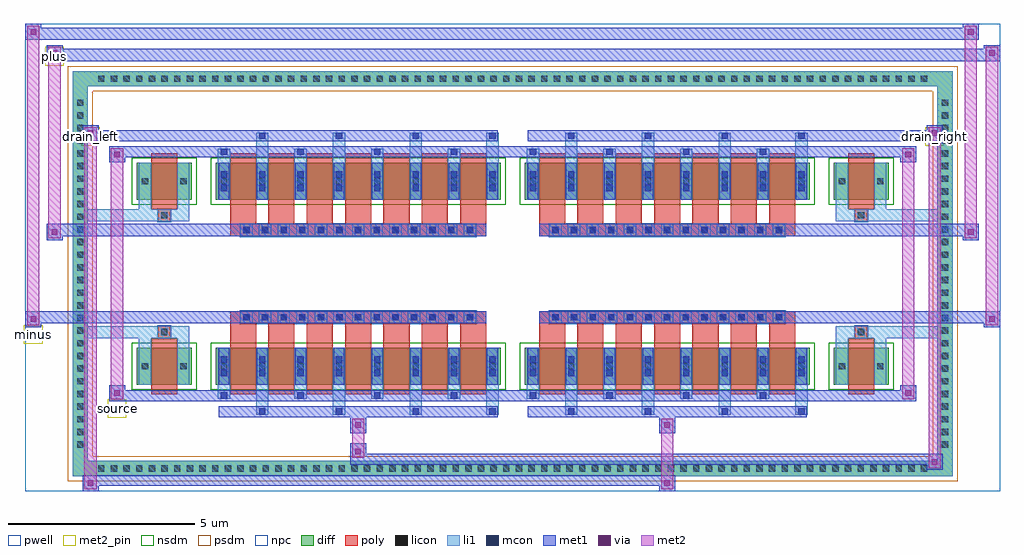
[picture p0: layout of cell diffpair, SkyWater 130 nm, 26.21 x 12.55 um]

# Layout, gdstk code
import gdstk
lib = gdstk.Library(unit=1e-6, precision=5e-09)
def R(c, l, rs):  # rectangles x0, y0, x1, y1
    for r in rs: c.add(gdstk.rectangle(r[:2], r[2:], *l))
def A(c, l, x, y, w, h, nx, ny, dx, dy):  # array of equal rectangles
    R(c, l, [(x+i*dx, y+j*dy, x+i*dx+w, y+j*dy+h) for i in range(nx) for j in range(ny)])
def P(c, l, *ps):  # polygons
    for p in ps: c.add(gdstk.Polygon(p, *l))
pwell = (64, 44)
diff = (65, 20)
poly = (66, 20)
licon = (66, 44)
li1 = (67, 20)
mcon = (67, 44)
met1 = (68, 20)
via = (68, 44)
met2_pin = (69, 16)
met2 = (69, 20)
nsdm = (93, 44)
psdm = (94, 20)
npc = (95, 20)

diffpair = lib.new_cell('diffpair')
R(diffpair, pwell, [(-13.09,-5.84,13.09,6.71), (-10.41,-4.03,-0.01,-0.805), (0.01,-4.03,10.41,-0.805), (-10.41,0.805,-0.01,4.03), (0.01,0.805,10.41,4.03)])
A(diffpair, diff, -11.255, -5.44, 0.41, 0.41, 66, 2, 0.34, 10.47)
A(diffpair, diff, -11.82, -4.795, 0.41, 0.41, 1, 28, 0, 0.34)
A(diffpair, diff, 11.41, -4.795, 0.41, 0.41, 1, 28, 0, 0.34)
R(diffpair, diff, [(-11.255,-5.44,11.255,-5.03), (-11.82,-4.795,-11.41,4.795), (11.41,-4.795,11.82,4.795), (-10.1,-2.985,-8.62,-1.985), (-7.98,-2.985,-0.32,-1.985), (0.32,-2.985,7.98,-1.985), (8.62,-2.985,10.1,-1.985), (-10.1,1.985,-8.62,2.985), (-7.98,1.985,-0.32,2.985), (0.32,1.985,7.98,2.985), (8.62,1.985,10.1,2.985), (-11.255,5.03,11.255,5.44)])
P(diffpair, diff, [(11.82,5.44),(-11.82,5.44),(-11.82,-5.03),(-11.41,-5.03),(-11.41,5.03),(11.41,5.03),(11.41,-5.03),(-11.41,-5.03),(-11.82,-5.03),(-11.82,-5.44),(11.82,-5.44)])
A(diffpair, poly, -7.59, -3.235, 0.7, 1.5, 7, 2, 1.03, 4.97)
A(diffpair, poly, 0.71, -3.235, 0.7, 1.5, 7, 2, 1.03, 4.97)
A(diffpair, poly, -7.59, -1.735, 0.7, 0.4, 7, 2, 1.03, 3.07)
A(diffpair, poly, 0.71, -1.735, 0.7, 0.4, 7, 2, 1.03, 3.07)
A(diffpair, poly, -7.315, -1.335, 0.33, 0.33, 13, 2, 0.5, 2.34)
A(diffpair, poly, 0.985, -1.335, 0.33, 0.33, 13, 2, 0.5, 2.34)
R(diffpair, poly, [(-9.71,-3.235,-9.01,-1.735), (9.01,-3.235,9.71,-1.735), (-9.525,-1.735,-9.195,-1.405), (-9.525,-1.735,-9.195,-1.405), (9.195,-1.735,9.525,-1.405), (9.195,-1.735,9.525,-1.405), (-7.59,-1.335,-0.71,-1.005), (0.71,-1.335,7.59,-1.005), (-7.59,1.005,-0.71,1.335), (0.71,1.005,7.59,1.335), (-9.525,1.405,-9.195,1.735), (-9.525,1.405,-9.195,1.735), (9.195,1.405,9.525,1.735), (9.195,1.405,9.525,1.735), (-9.71,1.735,-9.01,3.235), (9.01,1.735,9.71,3.235)])
A(diffpair, licon, -11.135, -5.32, 0.17, 0.17, 66, 2, 0.34, 10.47)
A(diffpair, licon, -11.7, -4.675, 0.17, 0.17, 1, 28, 0, 0.34)
A(diffpair, licon, 11.53, -4.675, 0.17, 0.17, 1, 28, 0, 0.34)
A(diffpair, licon, -7.84, -2.57, 0.17, 0.17, 8, 2, 1.03, 4.97)
A(diffpair, licon, 0.46, -2.57, 0.17, 0.17, 8, 2, 1.03, 4.97)
A(diffpair, licon, -7.235, -1.255, 0.17, 0.17, 13, 2, 0.5, 2.34)
A(diffpair, licon, 1.065, -1.255, 0.17, 0.17, 13, 2, 0.5, 2.34)
R(diffpair, licon, [(-9.96,-2.57,-9.79,-2.4), (-8.93,-2.57,-8.76,-2.4), (8.76,-2.57,8.93,-2.4), (9.79,-2.57,9.96,-2.4), (-9.445,-1.655,-9.275,-1.485), (9.275,-1.655,9.445,-1.485), (-9.445,1.485,-9.275,1.655), (9.275,1.485,9.445,1.655), (-9.96,2.4,-9.79,2.57), (-8.93,2.4,-8.76,2.57), (8.76,2.4,8.93,2.57), (9.79,2.4,9.96,2.57)])
A(diffpair, li1, -11.215, -5.4, 0.33, 0.33, 66, 2, 0.34, 10.47)
A(diffpair, li1, -11.78, -4.755, 0.33, 0.33, 1, 28, 0, 0.34)
A(diffpair, li1, 11.45, -4.755, 0.33, 0.33, 1, 28, 0, 0.34)
A(diffpair, li1, -6.89, -3.79, 0.33, 0.805, 4, 2, 2.06, 6.775)
A(diffpair, li1, -6.81, -3.79, 0.17, 0.17, 4, 2, 2.06, 7.41)
A(diffpair, li1, 1.41, -3.79, 0.33, 0.805, 4, 2, 2.06, 6.775)
A(diffpair, li1, 1.49, -3.79, 0.17, 0.17, 4, 2, 2.06, 7.41)
A(diffpair, li1, -7.92, -3.36, 0.33, 0.375, 4, 2, 2.06, 6.345)
A(diffpair, li1, -7.84, -3.36, 0.17, 0.17, 4, 2, 2.06, 6.55)
A(diffpair, li1, 0.38, -3.36, 0.33, 0.375, 4, 2, 2.06, 6.345)
A(diffpair, li1, 0.46, -3.36, 0.17, 0.17, 4, 2, 2.06, 6.55)
A(diffpair, li1, -7.92, -2.985, 0.33, 1, 8, 2, 1.03, 4.97)
A(diffpair, li1, 0.38, -2.985, 0.33, 1, 8, 2, 1.03, 4.97)
A(diffpair, li1, -7.84, -2.75, 0.17, 0.17, 8, 2, 1.03, 0.36)
A(diffpair, li1, -7.84, -2.75, 0.17, 0.53, 8, 2, 1.03, 4.97)
A(diffpair, li1, 0.46, -2.75, 0.17, 0.17, 8, 2, 1.03, 0.36)
A(diffpair, li1, 0.46, -2.75, 0.17, 0.53, 8, 2, 1.03, 4.97)
A(diffpair, li1, -7.92, -2.65, 0.33, 0.33, 8, 2, 1.03, 4.97)
A(diffpair, li1, 0.38, -2.65, 0.33, 0.33, 8, 2, 1.03, 4.97)
A(diffpair, li1, -7.315, -1.335, 0.33, 0.33, 13, 2, 0.5, 2.34)
A(diffpair, li1, 0.985, -1.335, 0.33, 0.33, 13, 2, 0.5, 2.34)
A(diffpair, li1, -7.84, 2.22, 0.17, 0.17, 8, 2, 1.03, 0.36)
A(diffpair, li1, 0.46, 2.22, 0.17, 0.17, 8, 2, 1.03, 0.36)
R(diffpair, li1, [(-11.82,-5.44,-11.41,-5.03), (-11.82,-5.44,-11.41,-5.03), (-11.41,-5.44,11.41,-5.03), (11.41,-5.44,11.82,-5.03), (11.41,-5.44,11.82,-5.03), (-11.82,-5.03,-11.41,5.03), (11.41,-5.03,11.82,5.03), (-10.04,-2.985,-9.71,-1.985), (-9.01,-2.985,-8.68,-1.985), (8.68,-2.985,9.01,-1.985), (9.71,-2.985,10.04,-1.985), (-10.04,-2.65,-9.71,-2.32), (-9.01,-2.65,-8.68,-2.32), (8.68,-2.65,9.01,-2.32), (9.71,-2.65,10.04,-2.32), (-10.04,-1.985,-9.71,-1.405), (-9.01,-1.985,-8.68,-1.405), (8.68,-1.985,9.01,-1.405), (9.71,-1.985,10.04,-1.405), (-11.82,-1.735,-9.525,-1.405), (-10.04,-1.735,-9.525,-1.405), (-9.525,-1.735,-9.195,-1.405), (-9.195,-1.735,-8.68,-1.405), (8.68,-1.735,9.195,-1.405), (9.195,-1.735,9.525,-1.405), (9.195,-1.735,11.82,-1.405), (9.525,-1.735,10.04,-1.405), (-11.82,1.405,-9.525,1.735), (-10.04,1.405,-9.525,1.735), (-10.04,1.405,-9.71,1.985), (-9.525,1.405,-9.195,1.735), (-9.195,1.405,-8.68,1.735), (-9.01,1.405,-8.68,1.985), (8.68,1.405,9.195,1.735), (8.68,1.405,9.01,1.985), (9.195,1.405,9.525,1.735), (9.195,1.405,11.82,1.735), (9.525,1.405,10.04,1.735), (9.71,1.405,10.04,1.985), (-10.04,1.985,-9.71,2.985), (-9.01,1.985,-8.68,2.985), (8.68,1.985,9.01,2.985), (9.71,1.985,10.04,2.985), (-10.04,2.32,-9.71,2.65), (-9.01,2.32,-8.68,2.65), (8.68,2.32,9.01,2.65), (9.71,2.32,10.04,2.65), (-11.82,5.03,-11.41,5.44), (-11.82,5.03,-11.41,5.44), (-11.41,5.03,11.41,5.44), (11.41,5.03,11.82,5.44), (11.41,5.03,11.82,5.44)])
A(diffpair, mcon, -6.81, -3.79, 0.17, 0.17, 4, 2, 2.06, 7.41)
A(diffpair, mcon, 1.49, -3.79, 0.17, 0.17, 4, 2, 2.06, 7.41)
A(diffpair, mcon, -7.84, -3.36, 0.17, 0.17, 4, 2, 2.06, 6.55)
A(diffpair, mcon, 0.46, -3.36, 0.17, 0.17, 4, 2, 2.06, 6.55)
A(diffpair, mcon, -7.84, -2.75, 0.17, 0.17, 8, 2, 1.03, 0.36)
A(diffpair, mcon, 0.46, -2.75, 0.17, 0.17, 8, 2, 1.03, 0.36)
A(diffpair, mcon, -7.235, -1.255, 0.17, 0.17, 13, 2, 0.5, 2.34)
A(diffpair, mcon, 1.065, -1.255, 0.17, 0.17, 13, 2, 0.5, 2.34)
A(diffpair, mcon, -7.84, 2.22, 0.17, 0.17, 8, 2, 1.03, 0.36)
A(diffpair, mcon, 0.46, 2.22, 0.17, 0.17, 8, 2, 1.03, 0.36)
A(diffpair, met1, -6.87, -3.85, 0.29, 0.29, 4, 2, 2.06, 7.41)
A(diffpair, met1, 1.43, -3.85, 0.29, 0.29, 4, 2, 2.06, 7.41)
A(diffpair, met1, -7.9, -3.42, 0.29, 0.29, 4, 2, 2.06, 6.55)
A(diffpair, met1, 0.4, -3.42, 0.29, 0.29, 4, 2, 2.06, 6.55)
A(diffpair, met1, -7.9, -2.985, 0.29, 1, 8, 2, 1.03, 4.97)
A(diffpair, met1, 0.4, -2.985, 0.29, 1, 8, 2, 1.03, 4.97)
A(diffpair, met1, -7.9, -2.81, 0.29, 0.29, 8, 2, 1.03, 0.36)
A(diffpair, met1, 0.4, -2.81, 0.29, 0.29, 8, 2, 1.03, 0.36)
A(diffpair, met1, -7.295, -1.315, 0.29, 0.29, 13, 2, 0.5, 2.34)
A(diffpair, met1, 1.005, -1.315, 0.29, 0.29, 13, 2, 0.5, 2.34)
A(diffpair, met1, -7.9, 2.16, 0.29, 0.29, 8, 2, 1.03, 0.36)
A(diffpair, met1, 0.4, 2.16, 0.29, 0.29, 8, 2, 1.03, 0.36)
R(diffpair, met1, [(-11.55,-5.84,-11.12,-5.41), (3.935,-5.84,4.365,-5.41), (-11.55,-5.7,4.365,-5.41), (11.12,-5.27,11.55,-4.84), (-4.365,-5.13,11.55,-4.84), (-4.365,-4.99,-3.935,-4.56), (-4.365,-4.28,-3.935,-3.85), (3.935,-4.28,4.365,-3.85), (-7.9,-3.85,-0.4,-3.56), (0.4,-3.85,7.9,-3.56), (-10.84,-3.42,-10.41,-2.99), (-10.84,-3.42,-7.9,-3.13), (-7.9,-3.42,-0.4,-3.13), (-0.4,-3.42,0.4,-3.13), (0.4,-3.42,7.9,-3.13), (7.9,-3.42,10.84,-3.13), (10.41,-3.42,10.84,-2.99), (-13.09,-1.435,-12.66,-1.005), (12.66,-1.435,13.09,-1.005), (-13.09,-1.335,-0.71,-1.005), (-7.59,-1.335,-0.71,-1.005), (0.71,-1.335,7.59,-1.005), (0.71,-1.335,13.09,-1.005), (-12.52,0.905,-12.09,1.335), (12.09,0.905,12.52,1.335), (-12.52,1.005,-7.59,1.335), (-7.59,1.005,-0.71,1.335), (0.71,1.005,7.59,1.335), (7.59,1.005,12.52,1.335), (-10.84,2.99,-10.41,3.42), (10.41,2.99,10.84,3.42), (-10.84,3.13,-7.9,3.42), (-7.9,3.13,-0.4,3.42), (-0.4,3.13,0.4,3.42), (0.4,3.13,7.9,3.42), (7.9,3.13,10.84,3.42), (-11.55,3.56,-11.12,3.99), (-11.55,3.56,-7.9,3.85), (-7.9,3.56,-0.4,3.85), (0.4,3.56,7.9,3.85), (7.9,3.56,11.55,3.85), (11.12,3.56,11.55,3.99), (-12.52,5.71,-12.09,6.14), (-12.52,5.71,-10.41,6.04), (-10.41,5.71,10.41,6.04), (10.41,5.71,13.09,6.04), (12.66,5.71,13.09,6.14), (-13.09,6.28,-12.66,6.71), (-13.09,6.28,-10.41,6.61), (-10.41,6.28,10.41,6.61), (10.41,6.28,12.52,6.61), (12.09,6.28,12.52,6.71)])
R(diffpair, via, [(-11.41,-5.7,-11.26,-5.55), (4.075,-5.7,4.225,-5.55), (11.26,-5.13,11.41,-4.98), (-4.225,-4.85,-4.075,-4.7), (-4.225,-4.14,-4.075,-3.99), (4.075,-4.14,4.225,-3.99), (-10.7,-3.28,-10.55,-3.13), (10.55,-3.28,10.7,-3.13), (-12.95,-1.295,-12.8,-1.145), (12.8,-1.295,12.95,-1.145), (-12.38,1.045,-12.23,1.195), (12.23,1.045,12.38,1.195), (-10.7,3.13,-10.55,3.28), (10.55,3.13,10.7,3.28), (-11.41,3.7,-11.26,3.85), (11.26,3.7,11.41,3.85), (-12.38,5.85,-12.23,6), (12.8,5.85,12.95,6), (-12.95,6.42,-12.8,6.57), (12.23,6.42,12.38,6.57)])
R(diffpair, met2_pin, [(-10.875,-3.87,-10.375,-3.37), (-13.125,-1.885,-12.625,-1.385), (-11.585,3.44,-11.085,3.94), (11.085,3.44,11.585,3.94), (-12.555,5.59,-12.055,6.09)])
R(diffpair, met2, [(-11.5,-5.79,-11.17,-5.46), (-11.5,-5.79,-11.17,3.94), (3.985,-5.79,4.315,-5.46), (3.985,-5.46,4.315,-4.23), (11.17,-5.22,11.5,-4.89), (11.17,-5.22,11.5,3.94), (-4.315,-4.94,-3.985,-4.61), (-4.315,-4.61,-3.985,-4.23), (-4.315,-4.23,-3.985,-3.9), (3.985,-4.23,4.315,-3.9), (-10.79,-3.37,-10.46,-3.04), (-10.79,-3.37,-10.46,3.37), (10.46,-3.37,10.79,-3.04), (10.46,-3.37,10.79,3.37), (-13.04,-1.385,-12.71,-1.055), (-13.04,-1.385,-12.71,6.66), (12.71,-1.385,13.04,-1.055), (12.71,-1.385,13.04,6.09), (-12.47,0.955,-12.14,1.285), (-12.47,0.955,-12.14,6.09), (12.14,0.955,12.47,1.285), (12.14,0.955,12.47,6.66), (-10.79,3.04,-10.46,3.37), (10.46,3.04,10.79,3.37), (-11.5,3.61,-11.17,3.94), (11.17,3.61,11.5,3.94), (-12.47,5.76,-12.14,6.09), (12.71,5.76,13.04,6.09), (-13.04,6.33,-12.71,6.66), (12.14,6.33,12.47,6.66)])
P(diffpair, met2, [(13.04,-1.385),(13.04,-1.385),(13.04,-1.055),(13.04,-1.055)],
  [(13.04,5.76),(13.04,5.76),(13.04,6.09),(13.04,6.09)],
  [(-12.71,-1.385),(-12.71,-1.385),(-12.71,-1.055),(-12.71,-1.055)],
  [(-12.71,6.33),(-12.71,6.33),(-12.71,6.66),(-12.71,6.66)],
  [(12.47,0.955),(12.47,0.955),(12.47,1.285),(12.47,1.285)],
  [(12.47,6.33),(12.47,6.33),(12.47,6.66),(12.47,6.66)],
  [(-12.14,0.955),(-12.14,0.955),(-12.14,1.285),(-12.14,1.285)],
  [(-12.14,5.76),(-12.14,5.76),(-12.14,6.09),(-12.14,6.09)],
  [(-11.17,-5.79),(-11.17,-5.79),(-11.17,-5.46),(-11.17,-5.46)],
  [(-11.17,3.61),(-11.17,3.61),(-11.17,3.94),(-11.17,3.94)],
  [(11.5,-5.22),(11.5,-5.22),(11.5,-4.89),(11.5,-4.89)],
  [(11.5,3.61),(11.5,3.61),(11.5,3.94),(11.5,3.94)],
  [(-10.46,-3.37),(-10.46,-3.37),(-10.46,-3.04),(-10.46,-3.04)],
  [(-10.46,3.04),(-10.46,3.04),(-10.46,3.37),(-10.46,3.37)],
  [(10.79,-3.37),(10.79,-3.37),(10.79,-3.04),(10.79,-3.04)],
  [(10.79,3.04),(10.79,3.04),(10.79,3.37),(10.79,3.37)])
R(diffpair, nsdm, [(-10.23,-3.115,-8.49,-1.855), (-8.11,-3.115,-0.19,-1.855), (0.19,-3.115,8.11,-1.855), (8.49,-3.115,10.23,-1.855), (-10.23,1.855,-8.49,3.115), (-8.11,1.855,-0.19,3.115), (0.19,1.855,8.11,3.115), (8.49,1.855,10.23,3.115)])
P(diffpair, psdm, [(11.95,5.57),(-11.95,5.57),(-11.95,-4.9),(-11.28,-4.9),(-11.28,4.9),(11.28,4.9),(11.28,-4.9),(-11.28,-4.9),(-11.95,-4.9),(-11.95,-5.57),(11.95,-5.57)])
A(diffpair, npc, -7.335, -1.355, 0.37, 0.37, 13, 2, 0.5, 2.34)
A(diffpair, npc, 0.965, -1.355, 0.37, 0.37, 13, 2, 0.5, 2.34)
R(diffpair, npc, [(-9.545,-1.755,-9.175,-1.385), (9.175,-1.755,9.545,-1.385), (-7.335,-1.355,-6.465,-0.985), (-7.335,-1.355,-6.465,-0.985), (-6.835,-1.355,-5.965,-0.985), (-6.835,-1.355,-5.965,-0.985), (-6.335,-1.355,-5.465,-0.985), (-6.335,-1.355,-5.465,-0.985), (-5.835,-1.355,-4.965,-0.985), (-5.835,-1.355,-4.965,-0.985), (-5.335,-1.355,-4.465,-0.985), (-5.335,-1.355,-4.465,-0.985), (-4.835,-1.355,-3.965,-0.985), (-4.835,-1.355,-3.965,-0.985), (-4.335,-1.355,-3.465,-0.985), (-4.335,-1.355,-3.465,-0.985), (-3.835,-1.355,-2.965,-0.985), (-3.835,-1.355,-2.965,-0.985), (-3.335,-1.355,-2.465,-0.985), (-3.335,-1.355,-2.465,-0.985), (-2.835,-1.355,-1.965,-0.985), (-2.835,-1.355,-1.965,-0.985), (-2.335,-1.355,-1.465,-0.985), (-2.335,-1.355,-1.465,-0.985), (-1.835,-1.355,-0.965,-0.985), (-1.835,-1.355,-0.965,-0.985), (0.965,-1.355,1.835,-0.985), (0.965,-1.355,1.835,-0.985), (1.465,-1.355,2.335,-0.985), (1.465,-1.355,2.335,-0.985), (1.965,-1.355,2.835,-0.985), (1.965,-1.355,2.835,-0.985), (2.465,-1.355,3.335,-0.985), (2.465,-1.355,3.335,-0.985), (2.965,-1.355,3.835,-0.985), (2.965,-1.355,3.835,-0.985), (3.465,-1.355,4.335,-0.985), (3.465,-1.355,4.335,-0.985), (3.965,-1.355,4.835,-0.985), (3.965,-1.355,4.835,-0.985), (4.465,-1.355,5.335,-0.985), (4.465,-1.355,5.335,-0.985), (4.965,-1.355,5.835,-0.985), (4.965,-1.355,5.835,-0.985), (5.465,-1.355,6.335,-0.985), (5.465,-1.355,6.335,-0.985), (5.965,-1.355,6.835,-0.985), (5.965,-1.355,6.835,-0.985), (6.465,-1.355,7.335,-0.985), (6.465,-1.355,7.335,-0.985), (-7.335,0.985,-6.465,1.355), (-7.335,0.985,-6.465,1.355), (-6.835,0.985,-5.965,1.355), (-6.835,0.985,-5.965,1.355), (-6.335,0.985,-5.465,1.355), (-6.335,0.985,-5.465,1.355), (-5.835,0.985,-4.965,1.355), (-5.835,0.985,-4.965,1.355), (-5.335,0.985,-4.465,1.355), (-5.335,0.985,-4.465,1.355), (-4.835,0.985,-3.965,1.355), (-4.835,0.985,-3.965,1.355), (-4.335,0.985,-3.465,1.355), (-4.335,0.985,-3.465,1.355), (-3.835,0.985,-2.965,1.355), (-3.835,0.985,-2.965,1.355), (-3.335,0.985,-2.465,1.355), (-3.335,0.985,-2.465,1.355), (-2.835,0.985,-1.965,1.355), (-2.835,0.985,-1.965,1.355), (-2.335,0.985,-1.465,1.355), (-2.335,0.985,-1.465,1.355), (-1.835,0.985,-0.965,1.355), (-1.835,0.985,-0.965,1.355), (0.965,0.985,1.835,1.355), (0.965,0.985,1.835,1.355), (1.465,0.985,2.335,1.355), (1.465,0.985,2.335,1.355), (1.965,0.985,2.835,1.355), (1.965,0.985,2.835,1.355), (2.465,0.985,3.335,1.355), (2.465,0.985,3.335,1.355), (2.965,0.985,3.835,1.355), (2.965,0.985,3.835,1.355), (3.465,0.985,4.335,1.355), (3.465,0.985,4.335,1.355), (3.965,0.985,4.835,1.355), (3.965,0.985,4.835,1.355), (4.465,0.985,5.335,1.355), (4.465,0.985,5.335,1.355), (4.965,0.985,5.835,1.355), (4.965,0.985,5.835,1.355), (5.465,0.985,6.335,1.355), (5.465,0.985,6.335,1.355), (5.965,0.985,6.835,1.355), (5.965,0.985,6.835,1.355), (6.465,0.985,7.335,1.355), (6.465,0.985,7.335,1.355), (-9.545,1.385,-9.175,1.755), (9.175,1.385,9.545,1.755)])
diffpair.add(gdstk.Label('minus', (-12.875,-1.635), layer=69, texttype=5))
diffpair.add(gdstk.Label('drain_right', (11.335,3.69), layer=69, texttype=5))
diffpair.add(gdstk.Label('drain_left', (-11.335,3.69), layer=69, texttype=5))
diffpair.add(gdstk.Label('source', (-10.625,-3.62), layer=69, texttype=5))
diffpair.add(gdstk.Label('plus', (-12.305,5.84), layer=69, texttype=5))

lib.write_gds('diffpair.gds')
